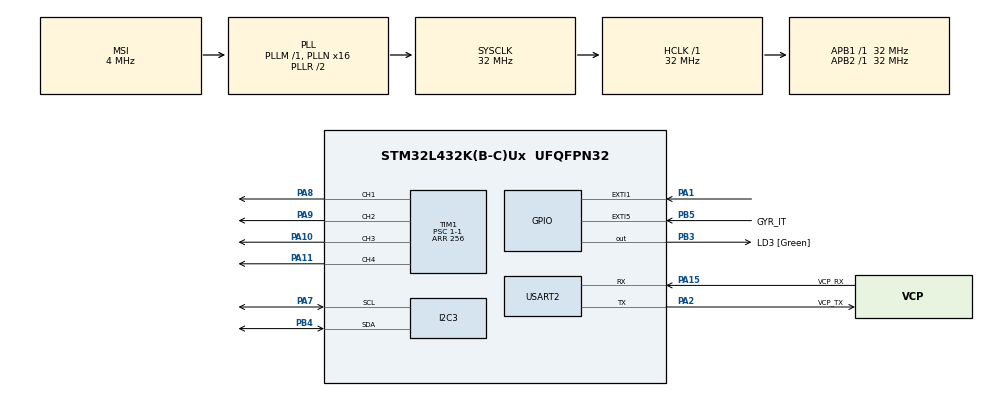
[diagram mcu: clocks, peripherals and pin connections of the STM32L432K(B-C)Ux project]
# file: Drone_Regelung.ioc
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I2C3.Timing=0x00B07CB4
Mcu.Family=STM32L4
Mcu.Name=STM32L432K(B-C)Ux
Mcu.Package=UFQFPN32
NVIC.EXTI1_IRQn=true\:0\:0\:false\:false\:true\:true\:true\:true
NVIC.EXTI9_5_IRQn=true\:0\:0\:false\:false\:true\:true\:true\:true
NVIC.PriorityGroup=NVIC_PRIORITYGROUP_4
NVIC.TIM1_UP_TIM16_IRQn=true\:0\:0\:false\:false\:true\:true\:true\:true
NVIC.TIM7_IRQn=true\:0\:0\:false\:false\:true\:true\:true\:true
PA0.GPIO_Label=MCO [High speed clock in]
PA0.Mode=HSE-External-Clock-Source-for-LittleOrca
PA0.Signal=RCC_CK_IN
PA1.GPIO_PuPd=GPIO_NOPULL
PA1.Signal=GPXTI1
PA10.Signal=S_TIM1_CH3
PA11.Signal=S_TIM1_CH4
PA13\ (JTMS-SWDIO).GPIO_Label=SWDIO
PA13\ (JTMS-SWDIO).Mode=Serial_Wire
PA13\ (JTMS-SWDIO).Signal=SYS_JTMS-SWDIO
PA14\ (JTCK-SWCLK).GPIO_Label=SWCLK
PA14\ (JTCK-SWCLK).Mode=Serial_Wire
PA14\ (JTCK-SWCLK).Signal=SYS_JTCK-SWCLK
PA15\ (JTDI).GPIO_Label=VCP_RX
PA15\ (JTDI).Mode=Asynchronous
PA15\ (JTDI).Signal=USART2_RX
PA2.GPIO_Label=VCP_TX
PA2.Mode=Asynchronous
PA2.Signal=USART2_TX
PA7.GPIO_Pu=GPIO_PULLUP
PA7.Mode=I2C
PA7.Signal=I2C3_SCL
PA8.Signal=S_TIM1_CH1
PA9.Signal=S_TIM1_CH2
PB3\ (JTDO-TRACESWO).GPIO_Label=LD3 [Green]
PB3\ (JTDO-TRACESWO).Signal=GPIO_Output
PB4\ (NJTRST).GPIO_Pu=GPIO_PULLUP
PB4\ (NJTRST).Mode=I2C
PB4\ (NJTRST).Signal=I2C3_SDA
PB5.GPIO_Label=GYR_IT
PB5.GPIO_ModeDefaultEXTI=GPIO_MODE_IT_RISING
PB5.GPIO_PuPd=GPIO_PULLDOWN
PB5.Signal=GPXTI5
PC14-OSC32_IN\ (PC14).Mode=LSE-External-Oscillator
PC14-OSC32_IN\ (PC14).Signal=RCC_OSC32_IN
PC15-OSC32_OUT\ (PC15).Mode=LSE-External-Oscillator
PC15-OSC32_OUT\ (PC15).Signal=RCC_OSC32_OUT
ProjectManager.HeapSize=0x200
ProjectManager.StackSize=0x400
ProjectManager.TargetToolchain=STM32CubeIDE
RCC.AHBFreq_Value=32000000
RCC.APB1Freq_Value=32000000
RCC.APB1TimFreq_Value=32000000
RCC.APB2Freq_Value=32000000
RCC.APB2TimFreq_Value=32000000
RCC.CortexFreq_Value=32000000
RCC.HCLKFreq_Value=32000000
RCC.HSE_VALUE=8000000
RCC.HSI16_VALUE=16000000
RCC.HSI48_VALUE=48000000
RCC.HSI_VALUE=16000000
RCC.MSI_VALUE=4000000
RCC.PLLMUL=RCC_PLLMUL_4
RCC.PLLN=16
RCC.SYSCLKFreq_VALUE=32000000
RCC.SYSCLKSource=RCC_SYSCLKSOURCE_PLLCLK
RCC.VCOOutputFreq_Value=64000000
SH.S_TIM1_CH1.0=TIM1_CH1,PWM Generation1 CH1
SH.S_TIM1_CH2.0=TIM1_CH2,PWM Generation2 CH2
SH.S_TIM1_CH3.0=TIM1_CH3,PWM Generation3 CH3
SH.S_TIM1_CH4.0=TIM1_CH4,PWM Generation4 CH4
TIM1.Channel-PWM\ Generation1\ CH1=TIM_CHANNEL_1
TIM1.Channel-PWM\ Generation2\ CH2=TIM_CHANNEL_2
TIM1.Channel-PWM\ Generation3\ CH3=TIM_CHANNEL_3
TIM1.Channel-PWM\ Generation4\ CH4=TIM_CHANNEL_4
TIM1.Period=256
TIM1.Prescaler=1-1
TIM1.Pulse-PWM\ Generation1\ CH1=0
TIM1.Pulse-PWM\ Generation2\ CH2=0
TIM1.Pulse-PWM\ Generation3\ CH3=0
TIM1.Pulse-PWM\ Generation4\ CH4=0
TIM6.Prescaler=32-1
TIM7.Period=5000-1
TIM7.Prescaler=32-1
USART2.VirtualMode-Asynchronous=VM_ASYNC
VP_TIM6_VS_ClockSourceINT.Mode=Enable_Timer
VP_TIM7_VS_ClockSourceINT.Mode=Enable_Timer
board=NUCLEO-L432KC

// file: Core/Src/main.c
/* USER CODE BEGIN Header */
/**
  ******************************************************************************
  * @file           : main.c
  * @brief          : Main program body
  ******************************************************************************
  * @attention
  *
  * Copyright (c) 2025 STMicroelectronics.
  * All rights reserved.
  *
  * This software is licensed under terms that can be found in the LICENSE file
  * in the root directory of this software component.
  * If no LICENSE file comes with this software, it is provided AS-IS.
  *
  ******************************************************************************
  */
/* USER CODE END Header */
#include "main.h"

/* USER CODE BEGIN Includes */
#include <stdio.h>
#include <string.h>

#include "decode.h"
#include "calculations.h"
#include "startup.h"
#include "read_sensor.h"
#include "data_collection.h"
#include "user_constants.h"

/* USER CODE END Includes */

/* USER CODE BEGIN PD */
//#define Loop_Time 4 //milliseconds between measurements

/* USER CODE END PD */

I2C_HandleTypeDef hi2c3;

TIM_HandleTypeDef htim1;
TIM_HandleTypeDef htim6;
TIM_HandleTypeDef htim7;

UART_HandleTypeDef huart2;

void SystemClock_Config(void);
static void MX_GPIO_Init(void);
static void MX_USART2_UART_Init(void);
static void MX_I2C3_Init(void);
static void MX_TIM1_Init(void);
static void MX_TIM6_Init(void);
static void MX_TIM7_Init(void);

/* USER CODE BEGIN 0 */

static uint16_t timer_val;

static uint8_t 	stop_flag 			= 1;
static volatile uint8_t loop_increment_flag = 0;
static volatile uint8_t	new_char_flag 		= 0;
static uint8_t 	transmission_flag 	= 0;
static unsigned int ir_binary		= 0;

static data_collection_struct data_collection_buffer[NUMB_MEASUREMENTS];

/* USER CODE END 0 */

int main(void)
{

  /* MCU Configuration--------------------------------------------------------*/

  /* Reset of all peripherals, Initializes the Flash interface and the Systick. */
  HAL_Init();

  /* Configure the system clock */
  SystemClock_Config();

  /* Initialize all configured peripherals */
  MX_GPIO_Init();
  MX_USART2_UART_Init();
  MX_I2C3_Init();
  MX_TIM1_Init();
  MX_TIM6_Init();
  MX_TIM7_Init();
  /* USER CODE BEGIN 2 */

  uint8_t 	save_data_flag 				= 0;
  uint8_t	save_to_flash_flag			= 0;
  uint8_t 	send_data_flag 				= 0;
  uint8_t 	new_angle_flag 				= 0;
  char		ir_character 				= '\0';

  int 	current_measurement_index 		= 0;

  data_header_struct data_header = {
		.desired_pitch 					= 0,
		.desired_roll 					= 0,
		.desired_yaw 					= 0,
		.loop_time 						= LOOP_TIME_MS,
		.numb_measurements 				= NUMB_MEASUREMENTS};

  float kalman_output[2] 				= {0,0};
  int	motor_input[4] 					= {0,0,0,0};
  float pid_output[2] 					= {0,0};

  float kalman_roll_angle 				= 0;
  float kalman_pitch_angle 				= 0;
  float kalman_roll_uncertainty 		= 2;
  float kalman_pitch_uncertainty 		= 2;

  float gyro_body_rate[3] 				= {0,0,0};
  float gyro_rate[3] 					= {0,0,0};
  float acc_rate[3] 					= {0,0,0};
  float low_pass_acc_rate[3] 			= {0,0,0};
  float yaw 							= 0;
  float accel_pitch, accel_roll;

  float desired_pitch 					= 0;
  float desired_roll					= 0;
  float desired_yaw						= 0;

  float input_pitch, 					input_roll, 					input_yaw;

  float desired_roll_rate		= 0, 	desired_pitch_rate		= 0, 	desired_yaw_rate	= 0;
  float error_roll_rate			= 0, 	error_pitch_rate		= 0, 	error_yaw_rate		= 0;
  float prev_error_roll_rate 	= 0, 	prev_error_pitch_rate 	= 0, 	prev_error_yaw_rate = 0;
  float prev_int_roll_rate 		= 0, 	prev_int_pitch_rate 	= 0, 	prev_int_yaw_rate 	= 0;

  float error_roll_ang			= 0, 	error_pitch_ang			= 0, 	error_yaw_ang		= 0;
  float prev_error_roll_ang		= 0, 	prev_error_pitch_ang	= 0, 	prev_error_yaw_ang	= 0;
  float prev_int_roll_ang		= 0, 	prev_int_pitch_ang		= 0, 	prev_int_yaw_ang	= 0;

  #ifdef TUNING_MODE
  float p_pitch 						= 0;
  float p_roll 							= 0;
  float p_yaw 							= 0;
  #endif

  configure_imu(&hi2c3, &huart2);
  timer_start(&timer_val,&htim1, &htim6, &htim7);

  #ifndef TUNING_MODE
  interpret_IR_Char('#', &data_header, &stop_flag, &save_data_flag, &send_data_flag, &new_angle_flag,&save_to_flash_flag, &huart2, htim1);
  #endif

  /* USER CODE END 2 */

  /* Infinite loop */
  /* USER CODE BEGIN WHILE */
  while (1)
  {

	  if(new_char_flag == 1)
	  {
		  new_char_flag = 0;
		  ir_character =decode(ir_binary);

		  #ifndef TUNING_MODE
		  interpret_IR_Char(ir_character, &data_header, &stop_flag, &save_data_flag, &send_data_flag, &new_angle_flag,&save_to_flash_flag, &huart2, htim1);
		  #else
		  interpret_IR_char_tuning(ir_character, &desired_pitch, &desired_roll, &stop_flag, htim1, &huart2, &p_roll, &p_pitch, &p_yaw);
		  #endif
		  ir_character = '\0';
	  }

	  // main function is run only when loop_increment_flag is periodically set from timer interrupt
	  if(loop_increment_flag == 1)
	  {
		  loop_increment_flag = 0;

		  //update desired angle if changed through IR remote, new_data_flag set in interpret_IR_Char()
		  if(new_angle_flag ==1)
		  {
			  new_angle_flag = 0;
			  desired_pitch 	= (float) data_header.desired_pitch;
			  desired_roll 		= (float) data_header.desired_roll;
			  desired_yaw		= (float) data_header.desired_yaw;
		  }

		  //gettin data from imu
		  get_gyr_data(gyro_body_rate, &hi2c3, &huart2);
		  get_acc_data(acc_rate, STANDARD_ACC_RANGE, &hi2c3, &huart2);

		  low_pass_filter(acc_rate, low_pass_acc_rate, 3, 0.1);

		  //calculating roll an pitch from accelerometer data
		  accel_pitch = acc_pitch((*(low_pass_acc_rate+0)),(*(low_pass_acc_rate+1)),(*(low_pass_acc_rate+2)));
		  accel_roll = acc_roll((*(low_pass_acc_rate+1)),(*(low_pass_acc_rate+2)));

		  //converting body gyrorate to fixed gyro rate
		  body_rate_to_fixed_rate(gyro_body_rate, kalman_roll_angle, kalman_pitch_angle, gyro_rate);

		  //Combining accelerometer and gyroscope data with kalman filter and integrating yaw from gyroscope
		  kalman_calculation(kalman_pitch_angle, kalman_pitch_uncertainty, gyro_rate[1], accel_pitch, kalman_output);
		  kalman_pitch_angle 		= kalman_output[0];
		  kalman_pitch_uncertainty 	= kalman_output[1];

		  kalman_calculation(kalman_roll_angle, kalman_roll_uncertainty, gyro_rate[0], accel_roll, kalman_output);
		  kalman_roll_angle 		= kalman_output[0];
		  kalman_roll_uncertainty 	= kalman_output[1];

		  yaw += gyro_rate[2]* LOOP_TIME_S;
		  yaw = yaw_cap(yaw);

		  //outer loop PID controllers
		  error_roll_ang 	= 	desired_roll 		-kalman_roll_angle;
		  error_pitch_ang 	= 	desired_pitch		-kalman_pitch_angle;
		  error_yaw_ang 	= 	desired_yaw 		-yaw;

		  pid_equation(error_roll_ang, prev_error_roll_ang, prev_int_roll_ang, P_OUTER, I_OUTER, D_OUTER, pid_output);
		  prev_error_roll_ang 	= 	error_roll_ang;
		  desired_roll_rate 	= 	pid_output[0];
		  prev_int_roll_ang 	= 	pid_output[1];

		  pid_equation(error_pitch_ang, prev_error_pitch_ang, prev_int_pitch_ang, P_OUTER, I_OUTER, D_OUTER, pid_output);
		  prev_error_pitch_ang 	= 	error_pitch_ang;
		  desired_pitch_rate 	=	pid_output[0];
		  prev_int_pitch_ang 	= 	pid_output[1];

		  pid_equation(error_yaw_ang, prev_error_yaw_ang, prev_int_yaw_ang, P_OUTER, I_OUTER, D_OUTER, pid_output);
		  prev_error_yaw_ang 	= 	error_yaw_ang;
		  desired_yaw_rate		= 	pid_output[0];
		  prev_int_yaw_ang		= 	pid_output[1];

		  //inner loop PID controllers
		  error_roll_rate 	= desired_roll_rate 	- gyro_rate[0];
		  error_pitch_rate 	= desired_pitch_rate 	- gyro_rate[1];
		  error_yaw_rate 	= desired_yaw_rate 		- gyro_rate[2];

		  #ifndef TUNING_MODE
		  pid_equation(error_roll_rate, prev_error_roll_rate, prev_int_roll_rate, P_ROLL_INNER, I_ROLL_INNER, D_ROLL_INNER, pid_output);
		  prev_error_roll_rate 	= error_roll_rate;
		  input_roll 			= pid_output[0];
		  prev_int_roll_rate 	= pid_output[1];

		  pid_equation(error_pitch_rate, prev_error_pitch_rate, prev_int_pitch_rate, P_PITCH_INNER, I_PITCH_INNER, D_PITCH_INNER, pid_output);
		  prev_error_pitch_rate = error_pitch_rate;
		  input_pitch 			= pid_output[0];
		  prev_int_pitch_rate 	= pid_output[1];

		  pid_equation(error_yaw_rate, prev_error_yaw_rate, prev_int_yaw_rate, P_YAW_INNER, I_YAW_INNER, D_YAW_INNER, pid_output);
		  prev_error_yaw_rate	= error_yaw_rate;
		  input_yaw	 			= pid_output[0];
		  prev_int_yaw_rate 	= pid_output[1];

		  #else
		  pid_equation(error_roll_rate, prev_error_roll_rate, prev_int_roll_rate, p_roll, 0, 0, pid_output);
		  prev_error_roll_rate 	= error_roll_rate;
		  input_roll 			= pid_output[0];
		  prev_int_roll_rate 	= pid_output[1];

		  pid_equation(error_pitch_rate, prev_error_pitch_rate, prev_int_pitch_rate, p_pitch, 0, 0, pid_output);
		  prev_error_pitch_rate = error_pitch_rate;
		  input_pitch 			= pid_output[0];
		  prev_int_pitch_rate 	= pid_output[1];

		  pid_equation(error_yaw_rate, prev_error_yaw_rate, prev_int_yaw_rate, p_yaw, 0, 0, pid_output);
		  prev_error_yaw_rate	= error_yaw_rate;
		  input_yaw	 			= pid_output[0];
		  prev_int_yaw_rate 	= pid_output[1];
		  #endif

		  //translate the change in angles to motor inputs
		  motor_inputs(input_pitch, input_roll,input_yaw, motor_input);

		  //set pwm channels
		  if(stop_flag ==0)
		  {
			  __HAL_TIM_SET_COMPARE(&htim1,TIM_CHANNEL_1, pwm_cap(*(motor_input+0)));
			  __HAL_TIM_SET_COMPARE(&htim1,TIM_CHANNEL_2, pwm_cap(*(motor_input+1)));
			  __HAL_TIM_SET_COMPARE(&htim1,TIM_CHANNEL_3, pwm_cap(*(motor_input+2)));
			  __HAL_TIM_SET_COMPARE(&htim1,TIM_CHANNEL_4, pwm_cap(*(motor_input+3)));
		  }

		  //save data to data collection buffer as Measurement Index/Pitch/Roll/Yaw
		  if(save_data_flag == 1)
		  {
			  if(current_measurement_index >= data_header.numb_measurements)
			  {
				  save_data_flag = 0;
				  current_measurement_index = 0;
			  }
			  else
			  {
				  data_collection_buffer[current_measurement_index].index 	= current_measurement_index;
				  data_collection_buffer[current_measurement_index].roll 	= (int16_t)(kalman_roll_angle/180*32768);
				  data_collection_buffer[current_measurement_index].pitch 	= (int16_t)(kalman_pitch_angle/180*32768);
				  data_collection_buffer[current_measurement_index].yaw 	= (int16_t)(yaw/180*32768);
				  current_measurement_index+=1;
			  }
		  }

		  if(save_to_flash_flag == 1)
		  {
			  save_to_flash_flag = 0;
			  erase_pages();
			  flash_write( (uint64_t*) &data_header , sizeof(data_header_struct)/sizeof(uint64_t), FLASH_REGION_START);
			  flash_write( (uint64_t*) data_collection_buffer , data_header.numb_measurements, FLASH_REGION_START+ sizeof(data_header_struct));
		  }

		  //send data header and data collection buffer over UART
		  if(send_data_flag == 1)
		  {
			  send_data_flag = 0;

			  send_header((data_header_struct*) FLASH_REGION_START, &huart2);
			  send_collected_data((data_collection_struct*) (FLASH_REGION_START+sizeof(data_header_struct)), data_header.numb_measurements, &huart2);
		  }
	  }

    /* USER CODE END WHILE */

  }
}

void SystemClock_Config(void)
{
  RCC_OscInitTypeDef RCC_OscInitStruct = {0};
  RCC_ClkInitTypeDef RCC_ClkInitStruct = {0};

  /** Configure the main internal regulator output voltage
  */
  if (HAL_PWREx_ControlVoltageScaling(PWR_REGULATOR_VOLTAGE_SCALE1) != HAL_OK)
  {
    Error_Handler();
  }

  /** Configure LSE Drive Capability
  */
  HAL_PWR_EnableBkUpAccess();
  __HAL_RCC_LSEDRIVE_CONFIG(RCC_LSEDRIVE_LOW);

  /** Initializes the RCC Oscillators according to the specified parameters
  * in the RCC_OscInitTypeDef structure.
  */
  RCC_OscInitStruct.OscillatorType = RCC_OSCILLATORTYPE_LSE|RCC_OSCILLATORTYPE_MSI;
  RCC_OscInitStruct.LSEState = RCC_LSE_ON;
  RCC_OscInitStruct.MSIState = RCC_MSI_ON;
  RCC_OscInitStruct.MSICalibrationValue = 0;
  RCC_OscInitStruct.MSIClockRange = RCC_MSIRANGE_6;
  RCC_OscInitStruct.PLL.PLLState = RCC_PLL_ON;
  RCC_OscInitStruct.PLL.PLLSource = RCC_PLLSOURCE_MSI;
  RCC_OscInitStruct.PLL.PLLM = 1;
  RCC_OscInitStruct.PLL.PLLN = 16;
  RCC_OscInitStruct.PLL.PLLP = RCC_PLLP_DIV7;
  RCC_OscInitStruct.PLL.PLLQ = RCC_PLLQ_DIV2;
  RCC_OscInitStruct.PLL.PLLR = RCC_PLLR_DIV2;
  if (HAL_RCC_OscConfig(&RCC_OscInitStruct) != HAL_OK)
  {
    Error_Handler();
  }

  /** Initializes the CPU, AHB and APB buses clocks
  */
  RCC_ClkInitStruct.ClockType = RCC_CLOCKTYPE_HCLK|RCC_CLOCKTYPE_SYSCLK
                              |RCC_CLOCKTYPE_PCLK1|RCC_CLOCKTYPE_PCLK2;
  RCC_ClkInitStruct.SYSCLKSource = RCC_SYSCLKSOURCE_PLLCLK;
  RCC_ClkInitStruct.AHBCLKDivider = RCC_SYSCLK_DIV1;
  RCC_ClkInitStruct.APB1CLKDivider = RCC_HCLK_DIV1;
  RCC_ClkInitStruct.APB2CLKDivider = RCC_HCLK_DIV1;

  if (HAL_RCC_ClockConfig(&RCC_ClkInitStruct, FLASH_LATENCY_1) != HAL_OK)
  {
    Error_Handler();
  }

  /** Enable MSI Auto calibration
  */
  HAL_RCCEx_EnableMSIPLLMode();
}

static void MX_I2C3_Init(void)
{

  hi2c3.Instance = I2C3;
  hi2c3.Init.Timing = 0x00B07CB4;
  hi2c3.Init.OwnAddress1 = 0;
  hi2c3.Init.AddressingMode = I2C_ADDRESSINGMODE_7BIT;
  hi2c3.Init.DualAddressMode = I2C_DUALADDRESS_DISABLE;
  hi2c3.Init.OwnAddress2 = 0;
  hi2c3.Init.OwnAddress2Masks = I2C_OA2_NOMASK;
  hi2c3.Init.GeneralCallMode = I2C_GENERALCALL_DISABLE;
  hi2c3.Init.NoStretchMode = I2C_NOSTRETCH_DISABLE;
  if (HAL_I2C_Init(&hi2c3) != HAL_OK)
  {
    Error_Handler();
  }

  /** Configure Analogue filter
  */
  if (HAL_I2CEx_ConfigAnalogFilter(&hi2c3, I2C_ANALOGFILTER_ENABLE) != HAL_OK)
  {
    Error_Handler();
  }

  /** Configure Digital filter
  */
  if (HAL_I2CEx_ConfigDigitalFilter(&hi2c3, 0) != HAL_OK)
  {
    Error_Handler();
  }

}

static void MX_TIM1_Init(void)
{

  TIM_MasterConfigTypeDef sMasterConfig = {0};
  TIM_OC_InitTypeDef sConfigOC = {0};
  TIM_BreakDeadTimeConfigTypeDef sBreakDeadTimeConfig = {0};

  htim1.Instance = TIM1;
  htim1.Init.Prescaler = 1-1;
  htim1.Init.CounterMode = TIM_COUNTERMODE_UP;
  htim1.Init.Period = 256;
  htim1.Init.ClockDivision = TIM_CLOCKDIVISION_DIV1;
  htim1.Init.RepetitionCounter = 0;
  htim1.Init.AutoReloadPreload = TIM_AUTORELOAD_PRELOAD_DISABLE;
  if (HAL_TIM_PWM_Init(&htim1) != HAL_OK)
  {
    Error_Handler();
  }
  sMasterConfig.MasterOutputTrigger = TIM_TRGO_RESET;
  sMasterConfig.MasterOutputTrigger2 = TIM_TRGO2_RESET;
  sMasterConfig.MasterSlaveMode = TIM_MASTERSLAVEMODE_DISABLE;
  if (HAL_TIMEx_MasterConfigSynchronization(&htim1, &sMasterConfig) != HAL_OK)
  {
    Error_Handler();
  }
  sConfigOC.OCMode = TIM_OCMODE_PWM1;
  sConfigOC.Pulse = 0;
  sConfigOC.OCPolarity = TIM_OCPOLARITY_HIGH;
  sConfigOC.OCNPolarity = TIM_OCNPOLARITY_HIGH;
  sConfigOC.OCFastMode = TIM_OCFAST_DISABLE;
  sConfigOC.OCIdleState = TIM_OCIDLESTATE_RESET;
  sConfigOC.OCNIdleState = TIM_OCNIDLESTATE_RESET;
  if (HAL_TIM_PWM_ConfigChannel(&htim1, &sConfigOC, TIM_CHANNEL_1) != HAL_OK)
  {
    Error_Handler();
  }
  if (HAL_TIM_PWM_ConfigChannel(&htim1, &sConfigOC, TIM_CHANNEL_2) != HAL_OK)
  {
    Error_Handler();
  }
  if (HAL_TIM_PWM_ConfigChannel(&htim1, &sConfigOC, TIM_CHANNEL_3) != HAL_OK)
  {
    Error_Handler();
  }
  if (HAL_TIM_PWM_ConfigChannel(&htim1, &sConfigOC, TIM_CHANNEL_4) != HAL_OK)
  {
    Error_Handler();
  }
  sBreakDeadTimeConfig.OffStateRunMode = TIM_OSSR_DISABLE;
  sBreakDeadTimeConfig.OffStateIDLEMode = TIM_OSSI_DISABLE;
  sBreakDeadTimeConfig.LockLevel = TIM_LOCKLEVEL_OFF;
  sBreakDeadTimeConfig.DeadTime = 0;
  sBreakDeadTimeConfig.BreakState = TIM_BREAK_DISABLE;
  sBreakDeadTimeConfig.BreakPolarity = TIM_BREAKPOLARITY_HIGH;
  sBreakDeadTimeConfig.BreakFilter = 0;
  sBreakDeadTimeConfig.Break2State = TIM_BREAK2_DISABLE;
  sBreakDeadTimeConfig.Break2Polarity = TIM_BREAK2POLARITY_HIGH;
  sBreakDeadTimeConfig.Break2Filter = 0;
  sBreakDeadTimeConfig.AutomaticOutput = TIM_AUTOMATICOUTPUT_DISABLE;
  if (HAL_TIMEx_ConfigBreakDeadTime(&htim1, &sBreakDeadTimeConfig) != HAL_OK)
  {
    Error_Handler();
  }
  HAL_TIM_MspPostInit(&htim1);

}

static void MX_TIM6_Init(void)
{

  TIM_MasterConfigTypeDef sMasterConfig = {0};

  htim6.Instance = TIM6;
  htim6.Init.Prescaler = 32-1;
  htim6.Init.CounterMode = TIM_COUNTERMODE_UP;
  htim6.Init.Period = 65535;
  htim6.Init.AutoReloadPreload = TIM_AUTORELOAD_PRELOAD_DISABLE;
  if (HAL_TIM_Base_Init(&htim6) != HAL_OK)
  {
    Error_Handler();
  }
  sMasterConfig.MasterOutputTrigger = TIM_TRGO_RESET;
  sMasterConfig.MasterSlaveMode = TIM_MASTERSLAVEMODE_DISABLE;
  if (HAL_TIMEx_MasterConfigSynchronization(&htim6, &sMasterConfig) != HAL_OK)
  {
    Error_Handler();
  }

}

static void MX_TIM7_Init(void)
{

  TIM_MasterConfigTypeDef sMasterConfig = {0};

  htim7.Instance = TIM7;
  htim7.Init.Prescaler = 32-1;
  htim7.Init.CounterMode = TIM_COUNTERMODE_UP;
  htim7.Init.Period = 3000-1;
  htim7.Init.AutoReloadPreload = TIM_AUTORELOAD_PRELOAD_DISABLE;
  if (HAL_TIM_Base_Init(&htim7) != HAL_OK)
  {
    Error_Handler();
  }
  sMasterConfig.MasterOutputTrigger = TIM_TRGO_RESET;
  sMasterConfig.MasterSlaveMode = TIM_MASTERSLAVEMODE_DISABLE;
  if (HAL_TIMEx_MasterConfigSynchronization(&htim7, &sMasterConfig) != HAL_OK)
  {
    Error_Handler();
  }

}

static void MX_USART2_UART_Init(void)
{

  huart2.Instance = USART2;
  huart2.Init.BaudRate = 115200;
  huart2.Init.WordLength = UART_WORDLENGTH_8B;
  huart2.Init.StopBits = UART_STOPBITS_1;
  huart2.Init.Parity = UART_PARITY_NONE;
  huart2.Init.Mode = UART_MODE_TX_RX;
  huart2.Init.HwFlowCtl = UART_HWCONTROL_NONE;
  huart2.Init.OverSampling = UART_OVERSAMPLING_16;
  huart2.Init.OneBitSampling = UART_ONE_BIT_SAMPLE_DISABLE;
  huart2.AdvancedInit.AdvFeatureInit = UART_ADVFEATURE_NO_INIT;
  if (HAL_UART_Init(&huart2) != HAL_OK)
  {
    Error_Handler();
  }

}

static void MX_GPIO_Init(void)
{
  GPIO_InitTypeDef GPIO_InitStruct = {0};

  /* GPIO Ports Clock Enable */
  __HAL_RCC_GPIOC_CLK_ENABLE();
  __HAL_RCC_GPIOA_CLK_ENABLE();
  __HAL_RCC_GPIOB_CLK_ENABLE();

  /*Configure GPIO pin Output Level */
  HAL_GPIO_WritePin(LD3_GPIO_Port, LD3_Pin, GPIO_PIN_RESET);

  /*Configure GPIO pin : PA1 */
  GPIO_InitStruct.Pin = GPIO_PIN_1;
  GPIO_InitStruct.Mode = GPIO_MODE_IT_RISING;
  GPIO_InitStruct.Pull = GPIO_NOPULL;
  HAL_GPIO_Init(GPIOA, &GPIO_InitStruct);

  /*Configure GPIO pin : LD3_Pin */
  GPIO_InitStruct.Pin = LD3_Pin;
  GPIO_InitStruct.Mode = GPIO_MODE_OUTPUT_PP;
  GPIO_InitStruct.Pull = GPIO_NOPULL;
  GPIO_InitStruct.Speed = GPIO_SPEED_FREQ_LOW;
  HAL_GPIO_Init(LD3_GPIO_Port, &GPIO_InitStruct);

  /*Configure GPIO pin : GYR_IT_Pin */
  GPIO_InitStruct.Pin = GYR_IT_Pin;
  GPIO_InitStruct.Mode = GPIO_MODE_IT_RISING;
  GPIO_InitStruct.Pull = GPIO_PULLDOWN;
  HAL_GPIO_Init(GYR_IT_GPIO_Port, &GPIO_InitStruct);

  /* EXTI interrupt init*/
  HAL_NVIC_SetPriority(EXTI1_IRQn, 0, 0);
  HAL_NVIC_EnableIRQ(EXTI1_IRQn);

  HAL_NVIC_SetPriority(EXTI9_5_IRQn, 0, 0);
  HAL_NVIC_EnableIRQ(EXTI9_5_IRQn);

}

/* USER CODE BEGIN 4 */
void HAL_GPIO_EXTI_Callback(uint16_t GPIO_Pin)
{
	static unsigned int 	binary =0;
	static uint8_t 			data_index = 0;
	int 					duration;

	if(GPIO_Pin == GPIO_PIN_1)
	{
		//get elapsed time since last interrupt
		duration = (__HAL_TIM_GET_COUNTER(&htim6)-timer_val);
		timer_val = __HAL_TIM_GET_COUNTER(&htim6);
		if(duration <0)
		{
			duration = duration + 65536;
		}

		if(transmission_flag == 1 )
		{
			if(duration>1600 && data_index != 0)
			{
				binary |= (1 << data_index);
			}

			data_index++;
			if(data_index>=31)
			{
				transmission_flag = 0;
				new_char_flag = 1;
				ir_binary = binary;
				HAL_NVIC_EnableIRQ(TIM7_IRQn);
			}
		}
		if(transmission_flag== 0)
		{
			if( (5500>duration)  && (duration> 4500))
			{
				transmission_flag = 1;
				binary = 0;
				data_index = 0;
				loop_increment_flag= 0;
				HAL_NVIC_DisableIRQ(TIM7_IRQn);

			}
		}

	}

}
void HAL_TIM_PeriodElapsedCallback(TIM_HandleTypeDef *htim)
{

	if(htim == &htim7)
	{
		if(transmission_flag == 0 )
		{
			loop_increment_flag= 1;
		}

	}
}
/* USER CODE END 4 */

void Error_Handler(void)
{
  __disable_irq();
  while (1)
  {
  }
}
